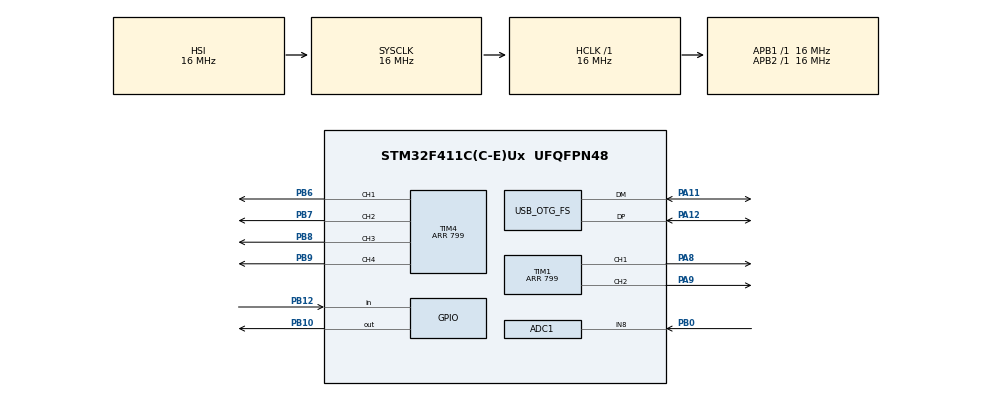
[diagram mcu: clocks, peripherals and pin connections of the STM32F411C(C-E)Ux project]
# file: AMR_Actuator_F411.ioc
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ADC1.Channel-0\#ChannelRegularConversion=ADC_CHANNEL_8
ADC1.Channel-1\#ChannelInjectedConversion=ADC_CHANNEL_8
ADC1.InjNumberOfConversion=1
ADC1.InjectedOffset-1\#ChannelInjectedConversion=0
ADC1.InjectedRank-1\#ChannelInjectedConversion=1
ADC1.NbrOfConversionFlag=1
ADC1.Rank-0\#ChannelRegularConversion=1
ADC1.SamplingTime-0\#ChannelRegularConversion=ADC_SAMPLETIME_84CYCLES
ADC1.SamplingTime-1\#ChannelInjectedConversion=ADC_SAMPLETIME_3CYCLES
ADC1.master=1
Mcu.Family=STM32F4
Mcu.Name=STM32F411C(C-E)Ux
Mcu.Package=UFQFPN48
NVIC.OTG_FS_IRQn=true\:0\:0\:false\:false\:true\:false\:true\:true
NVIC.PriorityGroup=NVIC_PRIORITYGROUP_4
PA11.Mode=Device_Only
PA11.Signal=USB_OTG_FS_DM
PA12.Mode=Device_Only
PA12.Signal=USB_OTG_FS_DP
PA8.Signal=S_TIM1_CH1
PA9.Signal=S_TIM1_CH2
PB0.Signal=ADCx_IN8
PB10.Signal=GPIO_Output
PB12.Signal=GPIO_Input
PB6.Signal=S_TIM4_CH1
PB7.Signal=S_TIM4_CH2
PB8.Signal=S_TIM4_CH3
PB9.Signal=S_TIM4_CH4
ProjectManager.HeapSize=0x200
ProjectManager.StackSize=0x400
ProjectManager.TargetToolchain=STM32CubeIDE
RCC.AHBFreq_Value=16000000
RCC.APB1Freq_Value=16000000
RCC.APB1TimFreq_Value=16000000
RCC.APB2Freq_Value=16000000
RCC.APB2TimFreq_Value=16000000
RCC.CortexFreq_Value=16000000
RCC.HSE_VALUE=25000000
RCC.HSI_VALUE=16000000
RCC.LSE_VALUE=32768
RCC.PLLP=RCC_PLLP_DIV4
RCC.PLLSourceVirtualString=RCC_PLLSOURCE_HSI
RCC.SYSCLKFreq_VALUE=16000000
RCC.VCOOutputFreq_Value=192000000
SH.ADCx_IN8.0=ADC1_IN8,IN8
SH.S_TIM1_CH1.0=TIM1_CH1,PWM Generation1 CH1
SH.S_TIM1_CH2.0=TIM1_CH2,PWM Generation2 CH2
SH.S_TIM4_CH1.0=TIM4_CH1,PWM Generation1 CH1
SH.S_TIM4_CH2.0=TIM4_CH2,PWM Generation2 CH2
SH.S_TIM4_CH3.0=TIM4_CH3,PWM Generation3 CH3
SH.S_TIM4_CH4.0=TIM4_CH4,PWM Generation4 CH4
TIM1.Channel-PWM\ Generation1\ CH1=TIM_CHANNEL_1
TIM1.Channel-PWM\ Generation2\ CH2=TIM_CHANNEL_2
TIM1.Period=799
TIM2.Prescaler=15
TIM4.Channel-PWM\ Generation1\ CH1=TIM_CHANNEL_1
TIM4.Channel-PWM\ Generation2\ CH2=TIM_CHANNEL_2
TIM4.Channel-PWM\ Generation3\ CH3=TIM_CHANNEL_3
TIM4.Channel-PWM\ Generation4\ CH4=TIM_CHANNEL_4
TIM4.Period=799
USB_DEVICE.CLASS_NAME_FS=CDC
USB_DEVICE.VirtualMode=Cdc
USB_DEVICE.VirtualModeFS=Cdc_FS
USB_OTG_FS.VirtualMode=Device_Only
VP_TIM2_VS_ClockSourceINT.Mode=Internal
VP_USB_DEVICE_VS_USB_DEVICE_CDC_FS.Mode=CDC_FS
board=custom

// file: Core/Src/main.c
/* USER CODE BEGIN Header */
/**
  ******************************************************************************
  * @file           : main.c
  * @brief          : Main program body
  ******************************************************************************
  * @attention
  *
  * Copyright (c) 2026 STMicroelectronics.
  * All rights reserved.
  *
  * This software is licensed under terms that can be found in the LICENSE file
  * in the root directory of this software component.
  * If no LICENSE file comes with this software, it is provided AS-IS.
  *
  ******************************************************************************
  */
/* USER CODE END Header */
#include "main.h"
#include "usb_device.h"

/* USER CODE BEGIN Includes */

#include "actuator_driver.h"
#include "mechanism_config.h"
#include "fsr_sensor.h"
#include "hcsr04.h"
#include "mechanism.h"
#include "usbd_cdc_if.h"
#include "communication.h"
/* Private includes ----------------------------------------------------------*/
/* USER CODE BEGIN Includes */

/* USER CODE END Includes */

ADC_HandleTypeDef hadc1;

TIM_HandleTypeDef htim1;
TIM_HandleTypeDef htim2;
TIM_HandleTypeDef htim4;

/* USER CODE BEGIN PV */
volatile uint8_t g_mech_cmd = 0;
volatile uint32_t g_mech_fsr = 0;
volatile float g_mech_distance = 0.0f;
volatile uint8_t g_mech_state = 0;
volatile uint8_t g_mech_fault = 0;
volatile uint8_t g_mech_hcsr_valid = 0;
volatile uint8_t g_mech_hcsr_error = 0;
volatile uint32_t g_mech_echo_us = 0;
/* USER CODE END PV */

void SystemClock_Config(void);
static void MX_GPIO_Init(void);
static void MX_ADC1_Init(void);
static void MX_TIM1_Init(void);
static void MX_TIM2_Init(void);
static void MX_TIM4_Init(void);

int main(void)
{

  /* MCU Configuration--------------------------------------------------------*/

  /* Reset of all peripherals, Initializes the Flash interface and the Systick. */
  HAL_Init();

  /* Configure the system clock */
  SystemClock_Config();

  /* Initialize all configured peripherals */
  MX_GPIO_Init();
  MX_ADC1_Init();
  MX_TIM1_Init();
  MX_TIM2_Init();
  MX_TIM4_Init();
  MX_USB_DEVICE_Init();
  /* USER CODE BEGIN 2 */
  Actuator_Init(&htim1, &htim4);

  FSR_Init(&hadc1);

  HCSR04_Init(&htim2);

  Mechanism_Init();

  Communication_Init();

  /* Infinite loop */
  while (1)
  {

    /* USER CODE BEGIN 3 */

	    /* =====================================================
	     * STATE MACHINE CHÍNH
	     * ===================================================== */

	     Mechanism_Task();

	     Communication_Task();

	    /* =====================================================
	     * DEBUG / TELEMETRY
	     * ===================================================== */

	    g_mech_fsr =
	        Mechanism_GetFSR();

	    g_mech_distance =
	        Mechanism_GetDistance();

	    g_mech_state =
	        (uint8_t)Mechanism_GetState();

	    g_mech_fault =
	        (uint8_t)Mechanism_GetFault();

	    g_mech_hcsr_valid =
	        HCSR04_IsValid();

	    g_mech_hcsr_error =
	        HCSR04_GetError();

	    g_mech_echo_us =
	        HCSR04_GetPulseUs();

	    /* =====================================================
	     * COMMAND 1 = OPEN
	     * ===================================================== */

	    if (g_mech_cmd == 1)
	    {
	        g_mech_cmd = 0;

	        Mechanism_StartOpen();
	    }

	    /* =====================================================
	     * COMMAND 2 = PICK
	     *
	     * Đóng kẹp -> FSR đủ lực
	     * -> nâng -> TOP
	     * ===================================================== */

	    else if (g_mech_cmd == 2)
	    {
	        g_mech_cmd = 0;

	        Mechanism_StartPick();
	    }

	    else if (g_mech_cmd == 6)
	    {
	        g_mech_cmd = 0;

	        Mechanism_StartClose();
	    }
	    /* =====================================================
	     * COMMAND 3 = DROP
	     *
	     * Hạ -> BOTTOM
	     * -> mở kẹp
	     * ===================================================== */

	    else if (g_mech_cmd == 3)
	    {
	        g_mech_cmd = 0;

	        Mechanism_StartDrop();
	    }

	    /* =====================================================
	     * COMMAND 4 = TEST CHỈ NÂNG
	     * Không đụng cơ cấu kẹp
	     * ===================================================== */

	    else if (g_mech_cmd == 4)
	    {
	        uint32_t test_start;

	        g_mech_cmd = 0;

	        Mechanism_Stop();
	        Lift_Stop();
	        test_start = HAL_GetTick();

	        while ((HAL_GetTick() - test_start) < LIFT_UP_TIME_MS)
	        {
	            Lift_Up(LIFT_PWM_DEFAULT);
	            HAL_Delay(50);
	        }

	        Lift_Stop();
	    }

	    /* =====================================================
	     * COMMAND 5 = TEST CHỈ HẠ
	     * Không mở kẹp
	     * ===================================================== */

	    else if (g_mech_cmd == 5)
	    {
	        uint32_t test_start;

	        g_mech_cmd = 0;

	        Mechanism_Stop();
	        Lift_Stop();
	        test_start = HAL_GetTick();

	        while ((HAL_GetTick() - test_start) < LIFT_DOWN_FULL_TIME_MS)
	        {
	            Lift_Down(LIFT_PWM_DEFAULT);
	            HAL_Delay(50);
	        }

	        Lift_Stop();
	    }

	    /* =====================================================
	     * COMMAND 9 = STOP
	     * ===================================================== */

	    else if (g_mech_cmd == 9)
	    {
	        g_mech_cmd = 0;

	        Mechanism_Stop();

	        Actuator_StopAll();
	    }

	    /* =====================================================
	     * COMMAND 20 = RESET FAULT
	     * ===================================================== */

	    else if (g_mech_cmd == 20)
	    {
	        g_mech_cmd = 0;

	        Mechanism_ResetFault();
	    }

	    /* =====================================================
	     * COMMAND 21 = SAFE RECOVER OPEN
	     *
	     * Only accepted by Mechanism_StartRecoverOpen() for
	     * clamp-related faults (OVER_FORCE / CLAMP_TIMEOUT).
	     * ===================================================== */

	    else if (g_mech_cmd == 21)
	    {
	        g_mech_cmd = 0;

	        (void)Mechanism_StartRecoverOpen();
	    }

	    HAL_Delay(2);

  }
}
  /* USER CODE END 3 */

void SystemClock_Config(void)
{
  RCC_OscInitTypeDef RCC_OscInitStruct = {0};
  RCC_ClkInitTypeDef RCC_ClkInitStruct = {0};

  /** Configure the main internal regulator output voltage
  */
  __HAL_RCC_PWR_CLK_ENABLE();
  __HAL_PWR_VOLTAGESCALING_CONFIG(PWR_REGULATOR_VOLTAGE_SCALE1);

  /** Initializes the RCC Oscillators according to the specified parameters
  * in the RCC_OscInitTypeDef structure.
  */
  RCC_OscInitStruct.OscillatorType = RCC_OSCILLATORTYPE_HSI;
  RCC_OscInitStruct.HSIState = RCC_HSI_ON;
  RCC_OscInitStruct.HSICalibrationValue = RCC_HSICALIBRATION_DEFAULT;
  RCC_OscInitStruct.PLL.PLLState = RCC_PLL_ON;
  RCC_OscInitStruct.PLL.PLLSource = RCC_PLLSOURCE_HSI;
  RCC_OscInitStruct.PLL.PLLM = 16;
  RCC_OscInitStruct.PLL.PLLN = 192;
  RCC_OscInitStruct.PLL.PLLP = RCC_PLLP_DIV4;
  RCC_OscInitStruct.PLL.PLLQ = 4;
  if (HAL_RCC_OscConfig(&RCC_OscInitStruct) != HAL_OK)
  {
    Error_Handler();
  }

  /** Initializes the CPU, AHB and APB buses clocks
  */
  RCC_ClkInitStruct.ClockType = RCC_CLOCKTYPE_HCLK|RCC_CLOCKTYPE_SYSCLK
                              |RCC_CLOCKTYPE_PCLK1|RCC_CLOCKTYPE_PCLK2;
  RCC_ClkInitStruct.SYSCLKSource = RCC_SYSCLKSOURCE_HSI;
  RCC_ClkInitStruct.AHBCLKDivider = RCC_SYSCLK_DIV1;
  RCC_ClkInitStruct.APB1CLKDivider = RCC_HCLK_DIV1;
  RCC_ClkInitStruct.APB2CLKDivider = RCC_HCLK_DIV1;

  if (HAL_RCC_ClockConfig(&RCC_ClkInitStruct, FLASH_LATENCY_0) != HAL_OK)
  {
    Error_Handler();
  }
}

static void MX_ADC1_Init(void)
{

  ADC_ChannelConfTypeDef sConfig = {0};
  ADC_InjectionConfTypeDef sConfigInjected = {0};

  /** Configure the global features of the ADC (Clock, Resolution, Data Alignment and number of conversion)
  */
  hadc1.Instance = ADC1;
  hadc1.Init.ClockPrescaler = ADC_CLOCK_SYNC_PCLK_DIV2;
  hadc1.Init.Resolution = ADC_RESOLUTION_12B;
  hadc1.Init.ScanConvMode = DISABLE;
  hadc1.Init.ContinuousConvMode = DISABLE;
  hadc1.Init.DiscontinuousConvMode = DISABLE;
  hadc1.Init.ExternalTrigConvEdge = ADC_EXTERNALTRIGCONVEDGE_NONE;
  hadc1.Init.ExternalTrigConv = ADC_SOFTWARE_START;
  hadc1.Init.DataAlign = ADC_DATAALIGN_RIGHT;
  hadc1.Init.NbrOfConversion = 1;
  hadc1.Init.DMAContinuousRequests = DISABLE;
  hadc1.Init.EOCSelection = ADC_EOC_SINGLE_CONV;
  if (HAL_ADC_Init(&hadc1) != HAL_OK)
  {
    Error_Handler();
  }

  /** Configure for the selected ADC regular channel its corresponding rank in the sequencer and its sample time.
  */
  sConfig.Channel = ADC_CHANNEL_8;
  sConfig.Rank = 1;
  sConfig.SamplingTime = ADC_SAMPLETIME_84CYCLES;
  if (HAL_ADC_ConfigChannel(&hadc1, &sConfig) != HAL_OK)
  {
    Error_Handler();
  }

  /** Configures for the selected ADC injected channel its corresponding rank in the sequencer and its sample time
  */
  sConfigInjected.InjectedChannel = ADC_CHANNEL_8;
  sConfigInjected.InjectedRank = 1;
  sConfigInjected.InjectedNbrOfConversion = 1;
  sConfigInjected.InjectedSamplingTime = ADC_SAMPLETIME_3CYCLES;
  sConfigInjected.ExternalTrigInjecConvEdge = ADC_EXTERNALTRIGINJECCONVEDGE_NONE;
  sConfigInjected.ExternalTrigInjecConv = ADC_INJECTED_SOFTWARE_START;
  sConfigInjected.AutoInjectedConv = DISABLE;
  sConfigInjected.InjectedDiscontinuousConvMode = DISABLE;
  sConfigInjected.InjectedOffset = 0;
  if (HAL_ADCEx_InjectedConfigChannel(&hadc1, &sConfigInjected) != HAL_OK)
  {
    Error_Handler();
  }

}

static void MX_TIM1_Init(void)
{

  TIM_MasterConfigTypeDef sMasterConfig = {0};
  TIM_OC_InitTypeDef sConfigOC = {0};
  TIM_BreakDeadTimeConfigTypeDef sBreakDeadTimeConfig = {0};

  htim1.Instance = TIM1;
  htim1.Init.Prescaler = 0;
  htim1.Init.CounterMode = TIM_COUNTERMODE_UP;
  htim1.Init.Period = 799;
  htim1.Init.ClockDivision = TIM_CLOCKDIVISION_DIV1;
  htim1.Init.RepetitionCounter = 0;
  htim1.Init.AutoReloadPreload = TIM_AUTORELOAD_PRELOAD_DISABLE;
  if (HAL_TIM_PWM_Init(&htim1) != HAL_OK)
  {
    Error_Handler();
  }
  sMasterConfig.MasterOutputTrigger = TIM_TRGO_RESET;
  sMasterConfig.MasterSlaveMode = TIM_MASTERSLAVEMODE_DISABLE;
  if (HAL_TIMEx_MasterConfigSynchronization(&htim1, &sMasterConfig) != HAL_OK)
  {
    Error_Handler();
  }
  sConfigOC.OCMode = TIM_OCMODE_PWM1;
  sConfigOC.Pulse = 0;
  sConfigOC.OCPolarity = TIM_OCPOLARITY_HIGH;
  sConfigOC.OCNPolarity = TIM_OCNPOLARITY_HIGH;
  sConfigOC.OCFastMode = TIM_OCFAST_DISABLE;
  sConfigOC.OCIdleState = TIM_OCIDLESTATE_RESET;
  sConfigOC.OCNIdleState = TIM_OCNIDLESTATE_RESET;
  if (HAL_TIM_PWM_ConfigChannel(&htim1, &sConfigOC, TIM_CHANNEL_1) != HAL_OK)
  {
    Error_Handler();
  }
  if (HAL_TIM_PWM_ConfigChannel(&htim1, &sConfigOC, TIM_CHANNEL_2) != HAL_OK)
  {
    Error_Handler();
  }
  sBreakDeadTimeConfig.OffStateRunMode = TIM_OSSR_DISABLE;
  sBreakDeadTimeConfig.OffStateIDLEMode = TIM_OSSI_DISABLE;
  sBreakDeadTimeConfig.LockLevel = TIM_LOCKLEVEL_OFF;
  sBreakDeadTimeConfig.DeadTime = 0;
  sBreakDeadTimeConfig.BreakState = TIM_BREAK_DISABLE;
  sBreakDeadTimeConfig.BreakPolarity = TIM_BREAKPOLARITY_HIGH;
  sBreakDeadTimeConfig.AutomaticOutput = TIM_AUTOMATICOUTPUT_DISABLE;
  if (HAL_TIMEx_ConfigBreakDeadTime(&htim1, &sBreakDeadTimeConfig) != HAL_OK)
  {
    Error_Handler();
  }
  HAL_TIM_MspPostInit(&htim1);

}

static void MX_TIM2_Init(void)
{

  TIM_ClockConfigTypeDef sClockSourceConfig = {0};
  TIM_MasterConfigTypeDef sMasterConfig = {0};

  htim2.Instance = TIM2;
  htim2.Init.Prescaler = 15;
  htim2.Init.CounterMode = TIM_COUNTERMODE_UP;
  htim2.Init.Period = 4294967295;
  htim2.Init.ClockDivision = TIM_CLOCKDIVISION_DIV1;
  htim2.Init.AutoReloadPreload = TIM_AUTORELOAD_PRELOAD_DISABLE;
  if (HAL_TIM_Base_Init(&htim2) != HAL_OK)
  {
    Error_Handler();
  }
  sClockSourceConfig.ClockSource = TIM_CLOCKSOURCE_INTERNAL;
  if (HAL_TIM_ConfigClockSource(&htim2, &sClockSourceConfig) != HAL_OK)
  {
    Error_Handler();
  }
  sMasterConfig.MasterOutputTrigger = TIM_TRGO_RESET;
  sMasterConfig.MasterSlaveMode = TIM_MASTERSLAVEMODE_DISABLE;
  if (HAL_TIMEx_MasterConfigSynchronization(&htim2, &sMasterConfig) != HAL_OK)
  {
    Error_Handler();
  }

}

static void MX_TIM4_Init(void)
{

  TIM_MasterConfigTypeDef sMasterConfig = {0};
  TIM_OC_InitTypeDef sConfigOC = {0};

  htim4.Instance = TIM4;
  htim4.Init.Prescaler = 0;
  htim4.Init.CounterMode = TIM_COUNTERMODE_UP;
  htim4.Init.Period = 799;
  htim4.Init.ClockDivision = TIM_CLOCKDIVISION_DIV1;
  htim4.Init.AutoReloadPreload = TIM_AUTORELOAD_PRELOAD_DISABLE;
  if (HAL_TIM_PWM_Init(&htim4) != HAL_OK)
  {
    Error_Handler();
  }
  sMasterConfig.MasterOutputTrigger = TIM_TRGO_RESET;
  sMasterConfig.MasterSlaveMode = TIM_MASTERSLAVEMODE_DISABLE;
  if (HAL_TIMEx_MasterConfigSynchronization(&htim4, &sMasterConfig) != HAL_OK)
  {
    Error_Handler();
  }
  sConfigOC.OCMode = TIM_OCMODE_PWM1;
  sConfigOC.Pulse = 0;
  sConfigOC.OCPolarity = TIM_OCPOLARITY_HIGH;
  sConfigOC.OCFastMode = TIM_OCFAST_DISABLE;
  if (HAL_TIM_PWM_ConfigChannel(&htim4, &sConfigOC, TIM_CHANNEL_1) != HAL_OK)
  {
    Error_Handler();
  }
  if (HAL_TIM_PWM_ConfigChannel(&htim4, &sConfigOC, TIM_CHANNEL_2) != HAL_OK)
  {
    Error_Handler();
  }
  if (HAL_TIM_PWM_ConfigChannel(&htim4, &sConfigOC, TIM_CHANNEL_3) != HAL_OK)
  {
    Error_Handler();
  }
  if (HAL_TIM_PWM_ConfigChannel(&htim4, &sConfigOC, TIM_CHANNEL_4) != HAL_OK)
  {
    Error_Handler();
  }
  HAL_TIM_MspPostInit(&htim4);

}

static void MX_GPIO_Init(void)
{
  GPIO_InitTypeDef GPIO_InitStruct = {0};

  /* GPIO Ports Clock Enable */
  __HAL_RCC_GPIOB_CLK_ENABLE();
  __HAL_RCC_GPIOA_CLK_ENABLE();

  /*Configure GPIO pin Output Level */
  HAL_GPIO_WritePin(GPIOB, GPIO_PIN_10, GPIO_PIN_RESET);

  /*Configure GPIO pin : PB10 */
  GPIO_InitStruct.Pin = GPIO_PIN_10;
  GPIO_InitStruct.Mode = GPIO_MODE_OUTPUT_PP;
  GPIO_InitStruct.Pull = GPIO_NOPULL;
  GPIO_InitStruct.Speed = GPIO_SPEED_FREQ_LOW;
  HAL_GPIO_Init(GPIOB, &GPIO_InitStruct);

  /*Configure GPIO pin : PB12 */
  GPIO_InitStruct.Pin = GPIO_PIN_12;
  GPIO_InitStruct.Mode = GPIO_MODE_INPUT;
  GPIO_InitStruct.Pull = GPIO_NOPULL;
  HAL_GPIO_Init(GPIOB, &GPIO_InitStruct);

}

void Error_Handler(void)
{
  __disable_irq();
  while (1)
  {
  }
}
